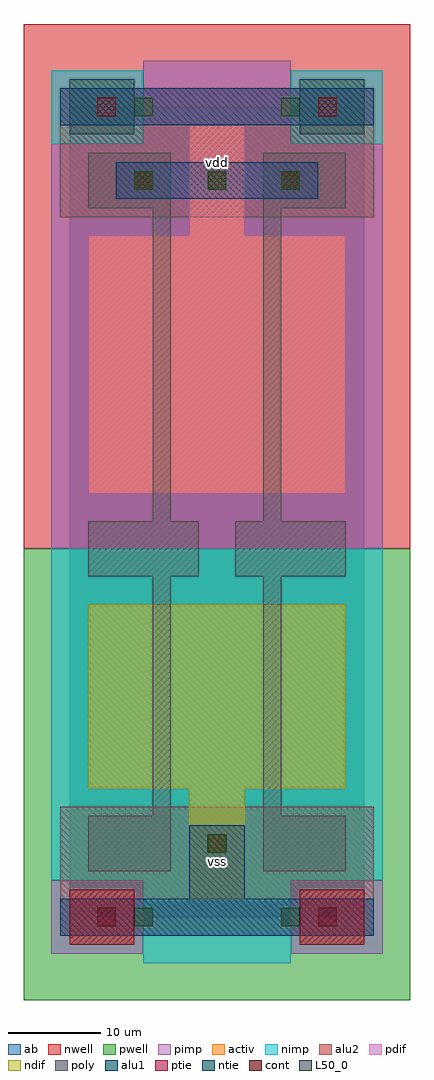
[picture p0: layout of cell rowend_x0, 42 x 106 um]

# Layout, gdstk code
import gdstk
lib = gdstk.Library(unit=1e-6, precision=1e-09)
def R(c, l, rs):  # rectangles x0, y0, x1, y1
    for r in rs: c.add(gdstk.rectangle(r[:2], r[2:], *l))
def A(c, l, x, y, w, h, nx, ny, dx, dy):  # array of equal rectangles
    R(c, l, [(x+i*dx, y+j*dy, x+i*dx+w, y+j*dy+h) for i in range(nx) for j in range(ny)])
ndif = (3, 0)
pdif = (4, 0)
ntie = (5, 0)
ptie = (6, 0)
cont = (25, 0)
pwell = (41, 0)
nwell = (42, 0)
activ = (43, 0)
pimp = (44, 0)
nimp = (45, 0)
poly = (46, 0)
alu1 = (49, 0)
L50_0 = (50, 0)
alu2 = (51, 0)
ab = (63, 0)

rowend_x0 = lib.new_cell('rowend_x0')
R(rowend_x0, ndif, [(13,2,19,14), (2,14,30,34)])
R(rowend_x0, pdif, [(2,46,30,74), (13,74,19,86)])
R(rowend_x0, ntie, [(0,85,7,91), (25,85,32,91)])
R(rowend_x0, ptie, [(0,-3,7,3), (25,-3,32,3)])
A(rowend_x0, cont, 7, 79, 2, 2, 3, 1, 8, 0)
R(rowend_x0, cont, [(3,-1,5,1), (27,-1,29,1), (15,7,17,9), (3,87,5,89), (27,87,29,89)])
R(rowend_x0, pwell, [(-5,-9,37,40)])
R(rowend_x0, nwell, [(-5,40,37,97)])
R(rowend_x0, activ, [(0,-3,7,3), (25,-3,32,3), (13,2,19,14), (2,14,30,34), (2,46,30,74), (13,74,19,86), (0,85,7,91), (25,85,32,91)])
R(rowend_x0, pimp, [(-2,-4,8,4), (24,-4,34,4), (-2,40,34,84), (8,84,24,93)])
R(rowend_x0, nimp, [(8,-5,24,4), (-2,4,34,40), (-2,84,8,92), (24,84,34,92)])
R(rowend_x0, poly, [(2,5,11,11), (21,5,30,11), (9,11,11,37), (21,11,23,37), (2,37,14,43), (18,37,30,43), (9,43,11,77), (21,43,23,77), (2,77,11,83), (21,77,30,83)])
R(rowend_x0, alu1, [(-1,-2,33,2), (13,2,19,10), (5,78,27,82), (-1,86,33,90)])
A(rowend_x0, L50_0, 7, 79, 2, 2, 3, 1, 8, 0)
R(rowend_x0, L50_0, [(7,-1,9,1), (23,-1,25,1), (15,7,17,9), (7,87,9,89), (23,87,25,89)])
R(rowend_x0, alu2, [(-1,-2,33,12), (-1,76,33,90)])
R(rowend_x0, ab, [(0,0,32,88)])
rowend_x0.add(gdstk.Label('vss', (16,6), layer=51, texttype=0))
rowend_x0.add(gdstk.Label('vdd', (16,82), layer=51, texttype=0))

lib.write_gds('rowend_x0.gds')
